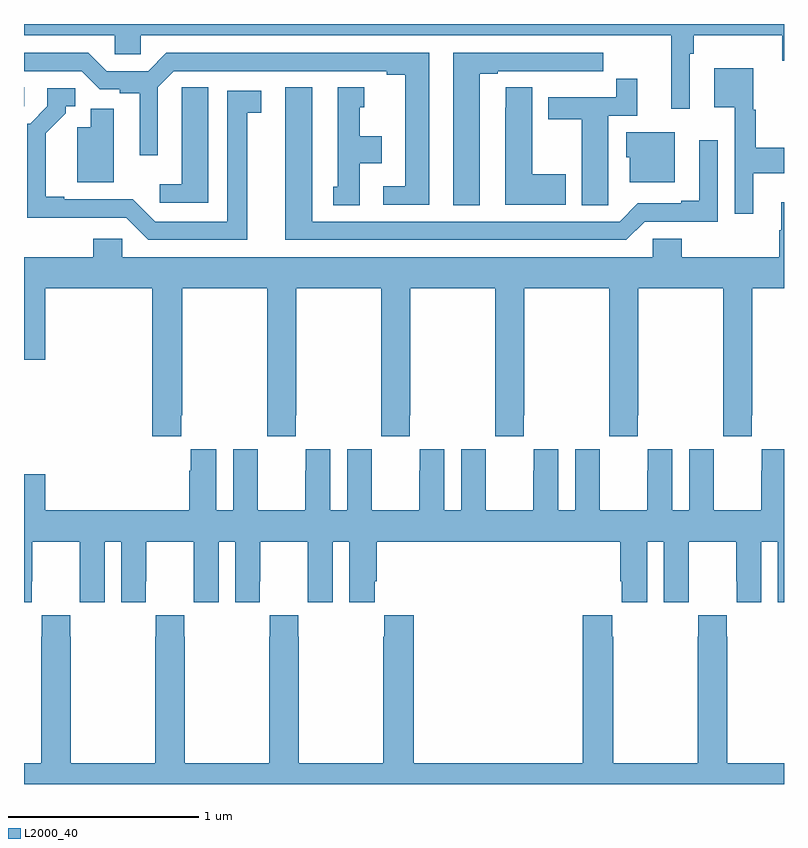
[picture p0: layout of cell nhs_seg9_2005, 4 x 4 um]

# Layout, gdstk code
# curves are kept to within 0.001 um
import gdstk
lib = gdstk.Library(unit=1e-6, precision=1e-09)
def R(c, l, rs):  # rectangles x0, y0, x1, y1
    for r in rs: c.add(gdstk.rectangle(r[:2], r[2:], *l))
def P(c, l, *ps):  # polygons
    for p in ps: c.add(gdstk.Polygon(p, *l))
L2000_40 = (2000, 40)

nhs_seg9_2005 = lib.new_cell('nhs_seg9_2005')
R(nhs_seg9_2005, L2000_40, [(225,1176.066,225.001,1176.167)])
P(nhs_seg9_2005, L2000_40, [(228.504,1176.344),(228.524,1176.344),(228.524,1176.44),(228.991,1176.44),(228.991,1176.306),(229,1176.306),(229,1176.5),(225,1176.5),(225,1176.44),(225.477,1176.44),(225.477,1176.342),(225.615,1176.342),(225.615,1176.44),(228.407,1176.44),(228.407,1176.054),(228.504,1176.054)],
  [(227.398,1176.237),(227.494,1176.237),(227.494,1176.252),(227.77,1176.252),(227.77,1176.251),(227.936,1176.251),(227.936,1176.252),(228.049,1176.252),(228.049,1176.348),(227.258,1176.348),(227.258,1175.545),(227.398,1175.545)],
  [(227.134,1176.348),(225.749,1176.348),(225.653,1176.252),(225.435,1176.252),(225.339,1176.348),(225,1176.348),(225,1176.252),(225.303,1176.252),(225.399,1176.156),(225.504,1176.156),(225.504,1176.136),(225.608,1176.136),(225.608,1175.808),(225.705,1175.808),(225.705,1176.168),(225.789,1176.252),(226.91,1176.252),(226.91,1176.232),(227.006,1176.232),(227.006,1175.646),(226.89,1175.646),(226.89,1175.55),(227.134,1175.55)],
  [(228.838,1175.714),(229,1175.714),(229,1175.849),(228.85,1175.849),(228.85,1176.048),(228.838,1176.048),(228.838,1176.268),(228.632,1176.268),(228.632,1176.062),(228.741,1176.062),(228.741,1175.502),(228.838,1175.502)],
  [(228.075,1175.656),(228.076,1175.656),(228.076,1176.018),(228.227,1176.018),(228.227,1176.211),(228.118,1176.211),(228.118,1176.114),(227.759,1176.114),(227.759,1175.998),(227.936,1175.998),(227.936,1175.545),(228.075,1175.545)],
  [(227.851,1175.709),(227.674,1175.709),(227.674,1176.167),(227.535,1176.167),(227.535,1176.059),(227.534,1176.059),(227.534,1175.549),(227.851,1175.549)],
  [(225.97,1176.167),(225.831,1176.167),(225.831,1176.059),(225.83,1176.059),(225.83,1175.656),(225.714,1175.656),(225.714,1175.559),(225.97,1175.559)],
  [(226.768,1175.768),(226.882,1175.768),(226.882,1175.908),(226.768,1175.908),(226.768,1176.063),(226.792,1176.063),(226.792,1176.166),(226.652,1176.166),(226.652,1175.643),(226.628,1175.643),(226.628,1175.545),(226.768,1175.545)],
  [(228.267,1175.46),(228.651,1175.46),(228.651,1175.887),(228.554,1175.887),(228.554,1175.569),(228.458,1175.569),(228.458,1175.556),(228.231,1175.556),(228.135,1175.46),(226.516,1175.46),(226.516,1176.166),(226.376,1176.166),(226.376,1175.364),(228.171,1175.364)],
  [(226.174,1176.034),(226.249,1176.034),(226.249,1176.15),(226.07,1176.15),(226.07,1175.46),(225.69,1175.46),(225.573,1175.577),(225.211,1175.577),(225.211,1175.59),(225.115,1175.59),(225.115,1175.926),(225.22,1176.031),(225.22,1176.066),(225.27,1176.066),(225.27,1176.162),(225.123,1176.162),(225.123,1176.066),(225.033,1175.976),(225.018,1175.976),(225.018,1175.48),(225.537,1175.481),(225.654,1175.364),(226.174,1175.364)],
  [(225.472,1176.054),(225.35,1176.054),(225.35,1175.956),(225.281,1175.956),(225.281,1175.666),(225.472,1175.666)],
  [(228.424,1175.929),(228.17,1175.929),(228.17,1175.799),(228.188,1175.799),(228.188,1175.666),(228.424,1175.666)],
  [(225.827,1174.441),(225.834,1174.441),(225.834,1175.108),(226.279,1175.108),(226.279,1174.441),(226.281,1174.441),(226.281,1174.329),(226.431,1174.329),(226.431,1174.441),(226.434,1174.441),(226.434,1175.108),(226.879,1175.108),(226.879,1174.441),(226.881,1174.441),(226.881,1174.329),(227.031,1174.329),(227.031,1174.441),(227.034,1174.441),(227.034,1175.108),(227.479,1175.108),(227.479,1174.441),(227.481,1174.441),(227.481,1174.329),(227.631,1174.329),(227.631,1174.441),(227.634,1174.441),(227.634,1175.108),(228.079,1175.108),(228.079,1174.441),(228.081,1174.441),(228.081,1174.329),(228.231,1174.329),(228.231,1174.441),(228.234,1174.441),(228.234,1175.108),(228.679,1175.108),(228.679,1174.441),(228.681,1174.441),(228.681,1174.329),(228.831,1174.329),(228.831,1174.441),(228.834,1174.441),(228.834,1175.108),(229,1175.108),(229,1175.563),(228.986,1175.563),(228.986,1175.414),(228.974,1175.414),(228.974,1175.272),(228.461,1175.272),(228.461,1175.37),(228.309,1175.37),(228.309,1175.272),(225.516,1175.272),(225.516,1175.37),(225.365,1175.37),(225.365,1175.272),(225,1175.272),(225,1174.734),(225.112,1174.734),(225.112,1175.108),(225.674,1175.108),(225.674,1174.329),(225.827,1174.329)],
  [(225.042,1173.568),(225.043,1173.568),(225.043,1173.776),(225.293,1173.776),(225.293,1173.568),(225.294,1173.568),(225.294,1173.456),(225.424,1173.456),(225.424,1173.776),(225.512,1173.776),(225.512,1173.456),(225.642,1173.456),(225.642,1173.568),(225.643,1173.568),(225.643,1173.776),(225.893,1173.776),(225.893,1173.568),(225.894,1173.568),(225.894,1173.456),(226.024,1173.456),(226.024,1173.776),(226.112,1173.776),(226.112,1173.456),(226.242,1173.456),(226.242,1173.568),(226.243,1173.568),(226.243,1173.776),(226.493,1173.776),(226.493,1173.568),(226.494,1173.568),(226.494,1173.456),(226.624,1173.456),(226.624,1173.776),(226.712,1173.776),(226.712,1173.456),(226.846,1173.456),(226.846,1173.568),(226.856,1173.568),(226.856,1173.776),(228.137,1173.776),(228.137,1173.568),(228.146,1173.568),(228.146,1173.456),(228.28,1173.456),(228.28,1173.776),(228.368,1173.776),(228.368,1173.456),(228.498,1173.456),(228.498,1173.568),(228.499,1173.568),(228.499,1173.776),(228.749,1173.776),(228.749,1173.568),(228.75,1173.568),(228.75,1173.456),(228.88,1173.456),(228.88,1173.776),(228.968,1173.776),(228.968,1173.456),(229,1173.456),(229,1174.261),(228.882,1174.261),(228.882,1174.148),(228.881,1174.148),(228.881,1173.94),(228.631,1173.94),(228.631,1174.148),(228.63,1174.148),(228.63,1174.261),(228.5,1174.261),(228.5,1173.94),(228.412,1173.94),(228.412,1174.261),(228.282,1174.261),(228.282,1174.148),(228.281,1174.148),(228.281,1173.94),(228.031,1173.94),(228.031,1174.148),(228.03,1174.148),(228.03,1174.261),(227.9,1174.261),(227.9,1173.94),(227.812,1173.94),(227.812,1174.261),(227.682,1174.261),(227.682,1174.148),(227.681,1174.148),(227.681,1173.94),(227.431,1173.94),(227.431,1174.148),(227.43,1174.148),(227.43,1174.261),(227.3,1174.261),(227.3,1173.94),(227.212,1173.94),(227.212,1174.261),(227.082,1174.261),(227.082,1174.148),(227.081,1174.148),(227.081,1173.94),(226.831,1173.94),(226.831,1174.148),(226.83,1174.148),(226.83,1174.261),(226.7,1174.261),(226.7,1173.94),(226.612,1173.94),(226.612,1174.261),(226.482,1174.261),(226.482,1174.148),(226.481,1174.148),(226.481,1173.94),(226.231,1173.94),(226.231,1174.148),(226.23,1174.148),(226.23,1174.261),(226.1,1174.261),(226.1,1173.94),(226.012,1173.94),(226.012,1174.261),(225.878,1174.261),(225.878,1174.148),(225.869,1174.148),(225.869,1173.94),(225.112,1173.94),(225.112,1174.129),(225,1174.129),(225,1173.456),(225.042,1173.456)],
  [(229,1172.608),(228.702,1172.608),(228.702,1173.275),(228.699,1173.275),(228.699,1173.388),(228.549,1173.388),(228.549,1173.275),(228.547,1173.275),(228.547,1172.608),(228.102,1172.608),(228.102,1173.275),(228.095,1173.275),(228.095,1173.388),(227.942,1173.388),(227.942,1172.608),(227.051,1172.608),(227.051,1173.388),(226.897,1173.388),(226.897,1173.275),(226.891,1173.275),(226.891,1172.608),(226.446,1172.608),(226.446,1173.275),(226.443,1173.275),(226.443,1173.388),(226.293,1173.388),(226.293,1173.275),(226.291,1173.275),(226.291,1172.608),(225.846,1172.608),(225.846,1173.275),(225.843,1173.275),(225.843,1173.388),(225.693,1173.388),(225.693,1173.275),(225.691,1173.275),(225.691,1172.608),(225.246,1172.608),(225.246,1173.275),(225.243,1173.275),(225.243,1173.388),(225.093,1173.388),(225.093,1173.275),(225.091,1173.275),(225.091,1172.608),(225,1172.608),(225,1172.5),(229,1172.5)])

lib.write_gds('nhs_seg9_2005.gds')
